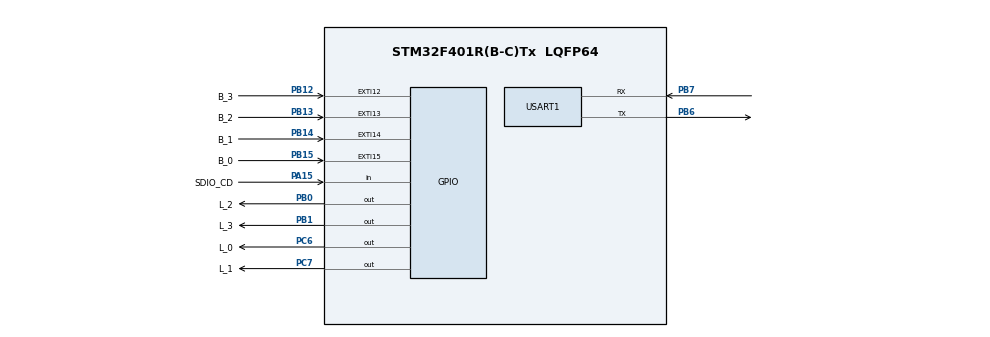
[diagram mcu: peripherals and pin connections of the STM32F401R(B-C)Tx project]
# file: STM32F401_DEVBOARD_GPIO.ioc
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Mcu.Family=STM32F4
Mcu.Name=STM32F401R(B-C)Tx
Mcu.Package=LQFP64
NVIC.EXTI15_10_IRQn=true\:0\:0\:false\:false\:true\:true\:true\:true
NVIC.PriorityGroup=NVIC_PRIORITYGROUP_4
NVIC.TIM1_BRK_TIM9_IRQn=true\:0\:0\:false\:false\:true\:true\:true\:true
PA13.Mode=Serial_Wire
PA13.Signal=SYS_JTMS-SWDIO
PA14.Mode=Serial_Wire
PA14.Signal=SYS_JTCK-SWCLK
PA15.GPIO_Label=SDIO_CD
PA15.Signal=GPIO_Input
PB0.GPIO_Label=L_2
PB0.Signal=GPIO_Output
PB1.GPIO_Label=L_3
PB1.Signal=GPIO_Output
PB12.GPIO_Label=B_3
PB12.GPIO_ModeDefaultEXTI=GPIO_MODE_IT_FALLING
PB12.GPIO_PuPd=GPIO_PULLUP
PB12.Signal=GPXTI12
PB13.GPIO_Label=B_2
PB13.GPIO_ModeDefaultEXTI=GPIO_MODE_IT_FALLING
PB13.GPIO_PuPd=GPIO_PULLUP
PB13.Signal=GPXTI13
PB14.GPIO_Label=B_1
PB14.GPIO_ModeDefaultEXTI=GPIO_MODE_IT_FALLING
PB14.GPIO_PuPd=GPIO_PULLUP
PB14.Signal=GPXTI14
PB15.GPIO_Label=B_0
PB15.GPIO_ModeDefaultEXTI=GPIO_MODE_IT_FALLING
PB15.GPIO_PuPd=GPIO_PULLUP
PB15.Signal=GPXTI15
PB6.Mode=Asynchronous
PB6.Signal=USART1_TX
PB7.Mode=Asynchronous
PB7.Signal=USART1_RX
PC6.GPIO_Label=L_0
PC6.Signal=GPIO_Output
PC7.GPIO_Label=L_1
PC7.Signal=GPIO_Output
PH0\ -\ OSC_IN.Mode=HSE-External-Oscillator
PH0\ -\ OSC_IN.Signal=RCC_OSC_IN
PH1\ -\ OSC_OUT.Mode=HSE-External-Oscillator
PH1\ -\ OSC_OUT.Signal=RCC_OSC_OUT
ProjectManager.HeapSize=0x200
ProjectManager.StackSize=0x400
ProjectManager.TargetToolchain=STM32CubeIDE
RCC.48MHZClocksFreq_Value=42000000
RCC.AHBFreq_Value=84000000
RCC.APB1CLKDivider=RCC_HCLK_DIV2
RCC.APB1Freq_Value=42000000
RCC.APB1TimFreq_Value=84000000
RCC.APB2Freq_Value=84000000
RCC.APB2TimFreq_Value=84000000
RCC.CortexFreq_Value=84000000
RCC.HCLKFreq_Value=84000000
RCC.HSE_VALUE=8000000
RCC.HSI_VALUE=16000000
RCC.LSE_VALUE=32768
RCC.PLLM=4
RCC.PLLN=84
RCC.PLLSourceVirtual=RCC_PLLSOURCE_HSE
RCC.SYSCLKFreq_VALUE=84000000
RCC.SYSCLKSource=RCC_SYSCLKSOURCE_PLLCLK
RCC.VCOOutputFreq_Value=168000000
TIM9.Channel-PWM\ Generation1\ No\ Output=TIM_CHANNEL_1
USART1.VirtualMode=VM_ASYNC
VP_TIM9_VS_no_output1.Mode=PWM Generation1 No Output
board=custom

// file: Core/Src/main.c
/* USER CODE BEGIN Header */
/**
 ******************************************************************************
 * @file           : main.c
 * @brief          : Main program body
 ******************************************************************************
 * @attention
 *
 * Copyright (c) 2025 STMicroelectronics.
 * All rights reserved.
 *
 * This software is licensed under terms that can be found in the LICENSE file
 * in the root directory of this software component.
 * If no LICENSE file comes with this software, it is provided AS-IS.
 *
 ******************************************************************************
 */
/* USER CODE END Header */
#include "main.h"
#include "tim.h"
#include "usart.h"
#include "gpio.h"

/* USER CODE BEGIN Includes */
#include "BUTTONS/buttons.h"
/* USER CODE END Includes */

/* USER CODE BEGIN PD */

#define APB1_TIM_FREQ                            84000000                      // TIM2, TIM3, TIM4, TIM5, TIM6, TIM7
#define APB2_TIM_FREQ                            84000000                      // TIM1, TIM8, TIM9, TIM10, TIM11

#define TIM9_FREQ                                20                            // кол-во необходимых срабатываний таймера в секунду
#define TIM9_COUNT_PER_SEC                       50000                         // общее кол-во отсчетов таймера за секунду
#define TIM9_ARR                                 (TIM9_COUNT_PER_SEC / TIM9_FREQ - 1) // кол-во отсчетов таймера до генерации прерывания

/* USER CODE END PD */

/* USER CODE BEGIN PV */
char trans_str[64] = { 0, };
/* USER CODE END PV */

void SystemClock_Config (void);
/* USER CODE BEGIN PFP */
void Button_React ();
void _UART_TX (char *str, uint8_t size);

Button_t B_0;
Button_t B_1;
Button_t B_2;
Button_t B_3;

/* USER CODE END PFP */

int main (void)
{

  /* MCU Configuration--------------------------------------------------------*/

  /* Reset of all peripherals, Initializes the Flash interface and the Systick. */
  HAL_Init ();

  /* Configure the system clock */
  SystemClock_Config ();

  /* Initialize all configured peripherals */
  MX_GPIO_Init ();
  MX_USART1_UART_Init ();
  MX_TIM9_Init ();

  /* Infinite loop */
  /* USER CODE BEGIN WHILE */
  _UART_TX ("Welcome STM32 GPIO test firmware.", sizeof("Welcome STM32 GPIO test firmware."));

  /* настраиваем TIM9 для срабатывания с заданной частотой */
  TIM9->PSC = APB2_TIM_FREQ / TIM9_COUNT_PER_SEC - 1;
  TIM9->ARR = TIM9_ARR;
  TIM9->EGR |= TIM_EGR_UG;
  HAL_TIM_Base_Start_IT (&htim9);

  Button_Init (&B_0, B_0_GPIO_Port, B_0_Pin);
  Button_Init (&B_1, B_1_GPIO_Port, B_1_Pin);
  Button_Init (&B_2, B_2_GPIO_Port, B_2_Pin);
  Button_Init (&B_3, B_3_GPIO_Port, B_3_Pin);

  while (1)
  {
    /* USER CODE END WHILE */

    /* USER CODE BEGIN 3 */
    Button_React ();
    HAL_Delay (200);
  }
  /* USER CODE END 3 */
}

void SystemClock_Config (void)
{
  RCC_OscInitTypeDef RCC_OscInitStruct = { 0 };
  RCC_ClkInitTypeDef RCC_ClkInitStruct = { 0 };

  /** Configure the main internal regulator output voltage
   */
  __HAL_RCC_PWR_CLK_ENABLE();
  __HAL_PWR_VOLTAGESCALING_CONFIG(PWR_REGULATOR_VOLTAGE_SCALE2);

  /** Initializes the RCC Oscillators according to the specified parameters
   * in the RCC_OscInitTypeDef structure.
   */
  RCC_OscInitStruct.OscillatorType = RCC_OSCILLATORTYPE_HSE;
  RCC_OscInitStruct.HSEState = RCC_HSE_ON;
  RCC_OscInitStruct.PLL.PLLState = RCC_PLL_ON;
  RCC_OscInitStruct.PLL.PLLSource = RCC_PLLSOURCE_HSE;
  RCC_OscInitStruct.PLL.PLLM = 4;
  RCC_OscInitStruct.PLL.PLLN = 84;
  RCC_OscInitStruct.PLL.PLLP = RCC_PLLP_DIV2;
  RCC_OscInitStruct.PLL.PLLQ = 4;
  if (HAL_RCC_OscConfig (&RCC_OscInitStruct) != HAL_OK)
  {
    Error_Handler ();
  }

  /** Initializes the CPU, AHB and APB buses clocks
   */
  RCC_ClkInitStruct.ClockType = RCC_CLOCKTYPE_HCLK | RCC_CLOCKTYPE_SYSCLK | RCC_CLOCKTYPE_PCLK1 | RCC_CLOCKTYPE_PCLK2;
  RCC_ClkInitStruct.SYSCLKSource = RCC_SYSCLKSOURCE_PLLCLK;
  RCC_ClkInitStruct.AHBCLKDivider = RCC_SYSCLK_DIV1;
  RCC_ClkInitStruct.APB1CLKDivider = RCC_HCLK_DIV2;
  RCC_ClkInitStruct.APB2CLKDivider = RCC_HCLK_DIV1;

  if (HAL_RCC_ClockConfig (&RCC_ClkInitStruct, FLASH_LATENCY_2) != HAL_OK)
  {
    Error_Handler ();
  }
}

/* USER CODE BEGIN 4 */

void HAL_TIM_PeriodElapsedCallback (TIM_HandleTypeDef *htim)
{
  if (htim->Instance == TIM9)
  {
    Button_Process ();
  }
}

void Button_React ()
{
  if (B_0.Event != BTN_NONE)
  {
    HAL_GPIO_TogglePin (L_0_GPIO_Port, L_0_Pin);
    ButtonEvent_t event = B_0.Event;
    B_0.Event = BTN_NONE;
    if (event == BTN_SHORT_PRESS)
    {
      _UART_TX ("B_0 short press", sizeof("B_0 short press"));
    }
    else
    {
      _UART_TX ("B_0 long press", sizeof("B_0 long press"));
    }
  }

  if (B_1.Event != BTN_NONE)
  {
    HAL_GPIO_TogglePin (L_1_GPIO_Port, L_1_Pin);
    ButtonEvent_t event = B_1.Event;
    B_1.Event = BTN_NONE;
    if (event == BTN_SHORT_PRESS)
    {
      _UART_TX ("B_1 short press", sizeof("B_1 short press"));
    }
    else
    {
      _UART_TX ("B_1 long press", sizeof("B_1 long press"));
    }
  }

  if (B_2.Event != BTN_NONE)
  {
    HAL_GPIO_TogglePin (L_2_GPIO_Port, L_2_Pin);
    ButtonEvent_t event = B_2.Event;
    B_2.Event = BTN_NONE;
    if (event == BTN_SHORT_PRESS)
    {
      _UART_TX ("B_2 short press", sizeof("B_2 short press"));
    }
    else
    {
      _UART_TX ("B_2 long press", sizeof("B_2 long press"));
    }
  }

  if (B_3.Event != BTN_NONE)
  {
    HAL_GPIO_TogglePin (L_3_GPIO_Port, L_3_Pin);
    ButtonEvent_t event = B_3.Event;
    B_3.Event = BTN_NONE;
    if (event == BTN_SHORT_PRESS)
    {
      _UART_TX ("B_3 short press", sizeof("B_3 short press"));
    }
    else
    {
      _UART_TX ("B_3 long press", sizeof("B_3 long press"));
    }
  }
}

void _UART_TX (char *str, uint8_t size)
{
  for (uint8_t i = 0; i < (size - 1); i++)
  {
    trans_str[i] = str[i];
  }
  trans_str[size - 1] = '\n';
  HAL_UART_Transmit (&huart1, (uint8_t*) &trans_str, size, 100); // выводим в UART строку trans_str
}
/* USER CODE END 4 */

void Error_Handler (void)
{
  /* USER CODE BEGIN Error_Handler_Debug */
  /* User can add his own implementation to report the HAL error return state */
  __disable_irq ();
  while (1)
  {
  }
  /* USER CODE END Error_Handler_Debug */
}
